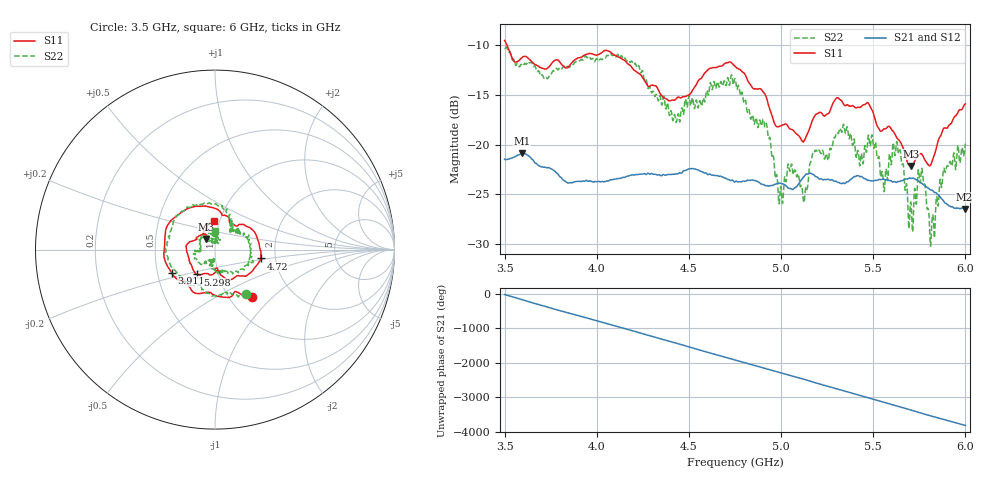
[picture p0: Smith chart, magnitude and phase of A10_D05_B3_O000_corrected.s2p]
! Created with skrf 1.9.0 (http://scikit-rf.org).
# Hz S RI R 50.0
!freq ReS11 ImS11 ReS21 ImS21 ReS12 ImS12 ReS22 ImS22
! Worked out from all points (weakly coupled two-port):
!   1601 points, 3.5 GHz to 6 GHz, reference 50 ohm
!   highest |S21| = -20.90 dB at 3.594 GHz (marker M1); lowest = -26.5 dB at 5.995 GHz (marker M2)
!   lowest |S11| = -22.2 dB at 5.705 GHz (marker M3), VSWR 1.17, Z = 44.9 + j5.36 ohm
!   |S11| at or under -10 dB: 3.513 GHz to end of sweep
!   |S22| runs from -30.2 to -10.2 dB; largest |S21 - S12| = 0.00096
!   S11 on the Smith chart (normalised r, x): 3.5 GHz: 1.26, -0.75; 3.911 GHz: 0.59, -0.17; 4.72 GHz: 1.67, -0.18; 5.298 GHz: 0.79, -0.23; 6 GHz: 0.94, +0.31
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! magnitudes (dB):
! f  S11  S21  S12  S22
! 3.5 GHz  -9.5  -21.5  -21.5  -10.3
! 3.594 GHz  -11.3  -20.9  -20.9  -12.0
! 3.911 GHz  -11.3  -23.7  -23.7  -11.5
! 3.917 GHz  -11.2  -23.7  -23.7  -11.4
! 4.334 GHz  -14.5  -23.0  -23.0  -15.6
! 4.441 GHz  -15.2  -22.9  -22.9  -16.9
! 4.72 GHz  -11.7  -23.6  -23.6  -14.1
! 4.75 GHz  -12.1  -23.8  -23.7  -13.4
! 4.914 GHz  -15.0  -24.1  -24.1  -18.2
! 4.997 GHz  -18.1  -23.9  -23.9  -24.3
! 5.048 GHz  -18.4  -24.4  -24.4  -22.7
! 5.13 GHz  -19.5  -23.1  -23.1  -24.9
! 5.167 GHz  -17.7  -23.0  -22.9  -21.3
! 5.298 GHz  -15.4  -23.7  -23.7  -18.9
! 5.584 GHz  -18.2  -23.6  -23.6  -21.8
! 5.638 GHz  -19.5  -23.7  -23.7  -20.9
! 5.705 GHz  -22.2  -23.4  -23.4  -25.9
! 5.756 GHz  -20.9  -23.8  -23.8  -23.7
! 5.82 GHz  -21.6  -24.6  -24.6  -27.3
! 5.889 GHz  -18.3  -25.9  -25.8  -22.8
! 5.995 GHz  -16.0  -26.5  -26.4  -20.6
! 6 GHz  -15.9  -26.4  -26.4  -19.9
